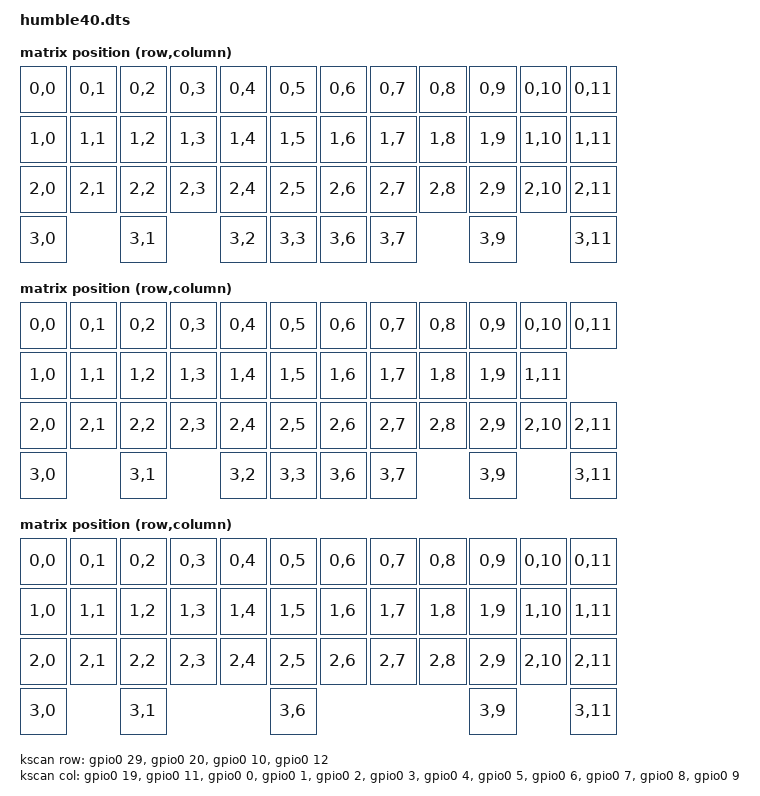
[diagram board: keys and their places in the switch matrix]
/*
 * Copyright (c) 2021 Yonatan Schachter
 * Copyright (c) 2024 The ZMK Contributors
 *
 * SPDX-License-Identifier: Apache-2.0
 */

/dts-v1/;

#include <rpi_pico/rp2040.dtsi>
#include <freq.h>
#include <zephyr/dt-bindings/pwm/pwm.h>

#include <dt-bindings/zmk/matrix_transform.h>

#include "humble40-pinctrl.dtsi"
#include "humble40-layouts.dtsi"

/ {
    chosen {
        zephyr,sram = &sram0;
        zephyr,flash = &flash0;
        zephyr,flash-controller = &ssi;
        zephyr,code-partition = &code_partition;

        zmk,kscan = &kscan;
        zmk,physical-layout = &uniform_layout;
        zmk,backlight = &backlight;
    };

    aliases {
        watchdog0 = &wdt0;
    };

    xtal_clk: xtal-clk {
        compatible = "fixed-clock";
        clock-frequency = <DT_FREQ_M(12)>;
        #clock-cells = <0>;
    };

    backlight: pwm_leds {
        compatible = "pwm-leds";
        pwm_led0: pwm_led_0 {
            /* Backlight pin is GP28. For tl;dr reasons, the pwm channel is GPXX % 16 = 12.
             * tl;dr:
             * - Zephyr discord: https://discord.com/channels/720317445772017664/938474761405726800/1042899590153764977
             * - https://github.com/khoih-prog/RP2040_PWM?tab=readme-ov-file#programmers-model
             */
            pwms = <&pwm 12 PWM_MSEC(20) PWM_POLARITY_NORMAL>;
        };
    };

    kscan: kscan {
        compatible = "zmk,kscan-gpio-matrix";
        diode-direction = "col2row";

        col-gpios
            = <&gpio0 19 GPIO_ACTIVE_HIGH>
            , <&gpio0 11 GPIO_ACTIVE_HIGH>
            , <&gpio0  0 GPIO_ACTIVE_HIGH>
            , <&gpio0  1 GPIO_ACTIVE_HIGH>
            , <&gpio0  2 GPIO_ACTIVE_HIGH>
            , <&gpio0  3 GPIO_ACTIVE_HIGH>
            , <&gpio0  4 GPIO_ACTIVE_HIGH>
            , <&gpio0  5 GPIO_ACTIVE_HIGH>
            , <&gpio0  6 GPIO_ACTIVE_HIGH>
            , <&gpio0  7 GPIO_ACTIVE_HIGH>
            , <&gpio0  8 GPIO_ACTIVE_HIGH>
            , <&gpio0  9 GPIO_ACTIVE_HIGH>
            ;

        row-gpios
            = <&gpio0 29 (GPIO_ACTIVE_HIGH | GPIO_PULL_DOWN)>
            , <&gpio0 20 (GPIO_ACTIVE_HIGH | GPIO_PULL_DOWN)>
            , <&gpio0 10 (GPIO_ACTIVE_HIGH | GPIO_PULL_DOWN)>
            , <&gpio0 12 (GPIO_ACTIVE_HIGH | GPIO_PULL_DOWN)>
            ;
    };

    uniform_transform: uniform_transform {
        compatible = "zmk,matrix-transform";
        columns = <12>;
        rows = <4>;
        map = <
    RC(0,0) RC(0,1) RC(0,2) RC(0,3) RC(0,4) RC(0,5) RC(0,6) RC(0,7) RC(0,8) RC(0,9) RC(0,10) RC(0,11)
    RC(1,0) RC(1,1) RC(1,2) RC(1,3) RC(1,4) RC(1,5) RC(1,6) RC(1,7) RC(1,8) RC(1,9) RC(1,10) RC(1,11)
    RC(2,0) RC(2,1) RC(2,2) RC(2,3) RC(2,4) RC(2,5) RC(2,6) RC(2,7) RC(2,8) RC(2,9) RC(2,10) RC(2,11)
    RC(3,0)         RC(3,1)         RC(3,2) RC(3,3) RC(3,6) RC(3,7)         RC(3,9)          RC(3,11)
        >;
    };

    big_enter_transform: big_enter_transform {
        compatible = "zmk,matrix-transform";
        columns = <12>;
        rows = <4>;
        map = <
    RC(0,0) RC(0,1) RC(0,2) RC(0,3) RC(0,4) RC(0,5) RC(0,6) RC(0,7) RC(0,8) RC(0,9) RC(0,10) RC(0,11)
    RC(1,0) RC(1,1) RC(1,2) RC(1,3) RC(1,4) RC(1,5) RC(1,6) RC(1,7) RC(1,8) RC(1,9)     RC(1,11)
    RC(2,0) RC(2,1) RC(2,2) RC(2,3) RC(2,4) RC(2,5) RC(2,6) RC(2,7) RC(2,8) RC(2,9) RC(2,10) RC(2,11)
    RC(3,0)         RC(3,1)         RC(3,2) RC(3,3) RC(3,6) RC(3,7)         RC(3,9)          RC(3,11)
        >;
    };

    big_bar_transform: big_bar_transform {
        compatible = "zmk,matrix-transform";
        columns = <12>;
        rows = <4>;
        map = <
    RC(0,0) RC(0,1) RC(0,2) RC(0,3) RC(0,4) RC(0,5) RC(0,6) RC(0,7) RC(0,8) RC(0,9) RC(0,10) RC(0,11)
    RC(1,0) RC(1,1) RC(1,2) RC(1,3) RC(1,4) RC(1,5) RC(1,6) RC(1,7) RC(1,8) RC(1,9) RC(1,10) RC(1,11)
    RC(2,0) RC(2,1) RC(2,2) RC(2,3) RC(2,4) RC(2,5) RC(2,6) RC(2,7) RC(2,8) RC(2,9) RC(2,10) RC(2,11)
    RC(3,0)         RC(3,1)                     RC(3,6)                     RC(3,9)          RC(3,11)
        >;
    };

    big_enter_big_bar_transform: big_enter_big_bar_transform {
        compatible = "zmk,matrix-transform";
        columns = <12>;
        rows = <4>;
        map = <
    RC(0,0) RC(0,1) RC(0,2) RC(0,3) RC(0,4) RC(0,5) RC(0,6) RC(0,7) RC(0,8) RC(0,9) RC(0,10) RC(0,11)
    RC(1,0) RC(1,1) RC(1,2) RC(1,3) RC(1,4) RC(1,5) RC(1,6) RC(1,7) RC(1,8) RC(1,9)     RC(1,11)
    RC(2,0) RC(2,1) RC(2,2) RC(2,3) RC(2,4) RC(2,5) RC(2,6) RC(2,7) RC(2,8) RC(2,9) RC(2,10) RC(2,11)
    RC(3,0)         RC(3,1)                     RC(3,6)                     RC(3,9)          RC(3,11)
        >;
    };

    std_transform: std_transform {
        compatible = "zmk,matrix-transform";
        columns = <12>;
        rows = <4>;
        map = <
    RC(0,0) RC(0,1) RC(0,2) RC(0,3) RC(0,4) RC(0,5) RC(0,6) RC(0,7) RC(0,8) RC(0,9) RC(0,10) RC(0,11)
    RC(1,0) RC(1,1) RC(1,2) RC(1,3) RC(1,4) RC(1,5) RC(1,6) RC(1,7) RC(1,8) RC(1,9) RC(1,10) RC(1,11)
    RC(2,0) RC(2,1) RC(2,2) RC(2,3) RC(2,4) RC(2,5) RC(2,6) RC(2,7) RC(2,8) RC(2,9)     RC(2,10)
    RC(3,0)         RC(3,1)                     RC(3,6)                     RC(3,9)          RC(3,11)
        >;
    };

    std_big_enter_transform: std_big_enter_transform {
        compatible = "zmk,matrix-transform";
        columns = <12>;
        rows = <4>;
        map = <
    RC(0,0) RC(0,1) RC(0,2) RC(0,3) RC(0,4) RC(0,5) RC(0,6) RC(0,7) RC(0,8) RC(0,9) RC(0,10) RC(0,11)
    RC(1,0) RC(1,1) RC(1,2) RC(1,3) RC(1,4) RC(1,5) RC(1,6) RC(1,7) RC(1,8) RC(1,9)     RC(1,11)
    RC(2,0) RC(2,1) RC(2,2) RC(2,3) RC(2,4) RC(2,5) RC(2,6) RC(2,7) RC(2,8) RC(2,9) RC(2,10) RC(2,11)
    RC(3,0)         RC(3,1)         RC(3,2) RC(3,3) RC(3,6) RC(3,7)         RC(3,9)          RC(3,11)
        >;
    };

    std_big_bar_transform: std_big_bar_transform {
        compatible = "zmk,matrix-transform";
        columns = <12>;
        rows = <4>;
        map = <
    RC(0,0) RC(0,1) RC(0,2) RC(0,3) RC(0,4) RC(0,5) RC(0,6) RC(0,7) RC(0,8) RC(0,9) RC(0,10) RC(0,11)
    RC(1,0) RC(1,1) RC(1,2) RC(1,3) RC(1,4) RC(1,5) RC(1,6) RC(1,7) RC(1,8) RC(1,9) RC(1,10) RC(1,11)
    RC(2,0) RC(2,1) RC(2,2) RC(2,3) RC(2,4) RC(2,5) RC(2,6) RC(2,7) RC(2,8) RC(2,9) RC(2,10) RC(2,11)
    RC(3,0)         RC(3,1)                     RC(3,6)                     RC(3,9)          RC(3,11)
        >;
    };

    std_big_enter_big_bar_transform: std_big_enter_big_bar_transform {
        compatible = "zmk,matrix-transform";
        columns = <12>;
        rows = <4>;
        map = <
    RC(0,0) RC(0,1) RC(0,2) RC(0,3) RC(0,4) RC(0,5) RC(0,6) RC(0,7) RC(0,8) RC(0,9) RC(0,10) RC(0,11)
    RC(1,0) RC(1,1) RC(1,2) RC(1,3) RC(1,4) RC(1,5) RC(1,6) RC(1,7) RC(1,8) RC(1,9)     RC(1,11)
    RC(2,0) RC(2,1) RC(2,2) RC(2,3) RC(2,4) RC(2,5) RC(2,6) RC(2,7) RC(2,8) RC(2,9) RC(2,10) RC(2,11)
    RC(3,0)         RC(3,1)                     RC(3,6)                     RC(3,9)          RC(3,11)
        >;
    };

};

&flash0 {
    /* 16MB of flash minus the 0x100 used for
     * the second stage bootloader
     */
    reg = <0x10000000 DT_SIZE_M(16)>;

    partitions {
        compatible = "fixed-partitions";
        #address-cells = <1>;
        #size-cells = <1>;

        /* Reserved memory for the second stage bootloader */
        second_stage_bootloader: partition@0 {
            label = "second_stage_bootloader";
            reg = <0x00000000 0x100>;
            read-only;
        };

        /*
         * Usable flash. Starts at 0x100, after the bootloader.
         * 16MB minus the 0x100 bytes taken by the bootloader
         * and 0xffff for storage (smallest block size)
         */
        code_partition: partition@100 {
            label = "code-partition";
            reg = <0x100 (DT_SIZE_M(16) - DT_SIZE_K(12) - 0x100)>;
            read-only;
        };

        storage_partition: partition@ff0000 {
            reg = <(DT_SIZE_M(16) - DT_SIZE_K(64)) DT_SIZE_K(64)>;
        };
    };
};

&gpio0 {
    status = "okay";
};

&timer {
    status = "okay";
};

&wdt0 {
    status = "okay";
};

zephyr_udc0: &usbd {
    status = "okay";
};

&vreg {
    regulator-always-on;
    regulator-allowed-modes = <REGULATOR_RPI_PICO_MODE_NORMAL>;
};

/*
 * Since the backlight is the only add-on that ships with this PCB, pinctrl
 * setup has been minimized.
 *
 * While you're here:
 * TP1 - IOVDD
 * TP2 - RUN
 * TP3 - GND
 * TP4 - SWDCLK
 * TP5 - SWDIO
 *
 * TP6 - BOOTSEL
 */

&pwm {
    status = "okay";
    pinctrl-0 = <&pwm_ch6a_default>;
    pinctrl-names = "default";
    divider-frac-6 = <15>;
    divider-int-6 = <255>;
};
